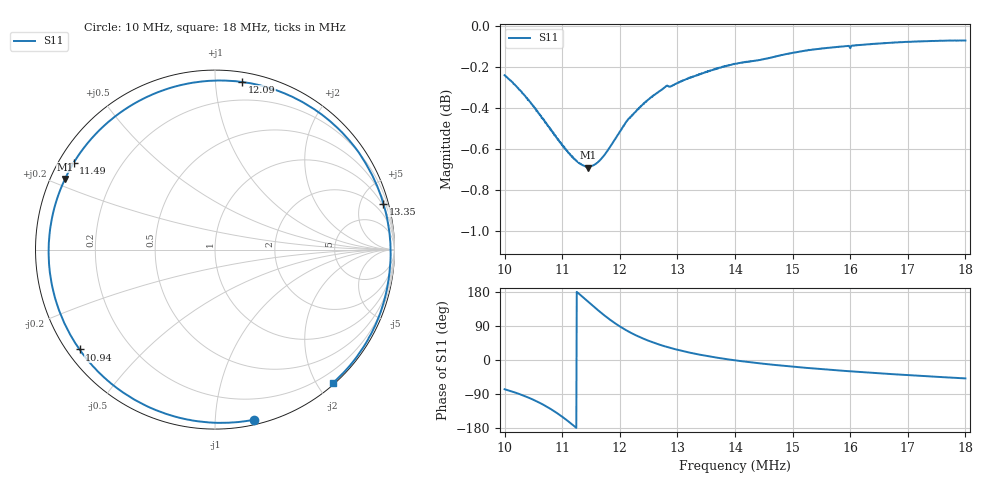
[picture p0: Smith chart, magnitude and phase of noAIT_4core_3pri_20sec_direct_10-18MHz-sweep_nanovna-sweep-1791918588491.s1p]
! NanoVNA Web complex sweep
! Processing: unaveraged complex samples; linear segment spacing; no smoothing
# Hz S RI R 50
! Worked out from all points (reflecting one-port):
!   1010 points, 10 MHz to 18 MHz, reference 50 ohm
!   lowest |S11| = -0.7 dB at 11.44 MHz (marker M1), VSWR 25.18, Z = 2.08 + j11.2 ohm
!   phase of S11 starts at -77 deg and turns -331 deg over the sweep
!   S11 on the Smith chart (normalised r, x): 10 MHz: 0.04, -1.25; 10.94 MHz: 0.04, -0.33; 11.49 MHz: 0.04, +0.28; 12.09 MHz: 0.07, +1.17; 13.35 MHz: 0.77, +7.37; 18 MHz: 0.02, -2.22
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1e7  0.2165 -0.9482
1.012686e7  0.117 -0.9619
1.030923e7  -0.0478 -0.9615
1.05471e7  -0.3004 -0.9053
1.075326e7  -0.5427 -0.7744
1.094355e7  -0.7547 -0.5565
1.100698e7  -0.8137 -0.4605
1.112592e7  -0.896 -0.2518
1.123692e7  -0.9267 -0.0304
1.134e7  -0.9064 0.1851
1.144308e7  -0.8355 0.3936
1.149065e7  -0.7876 0.4834
1.161752e7  -0.6187 0.6894
1.174438e7  -0.4115 0.8346
1.187124e7  -0.1921 0.9162
1.200604e7  0.0308 0.9421
1.208533e7  0.1512 0.934
1.229148e7  0.4131 0.8593
1.250556e7  0.6117 0.7394
1.275136e7  0.7659 0.5875
1.300509e7  0.8644 0.4365
1.334604e7  0.9383 0.2566
1.400414e7  0.9787 -0.016
1.44561e7  0.9682 -0.1584
1.50032e7  0.9387 -0.2977
1.600225e7  0.8564 -0.4914
1.700131e7  0.7603 -0.6354
1.800036e7  0.6562 -0.7434
